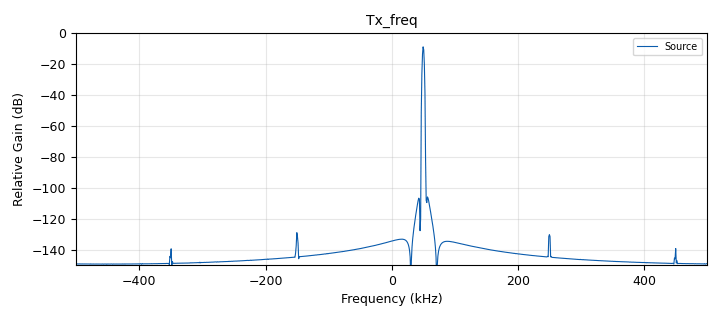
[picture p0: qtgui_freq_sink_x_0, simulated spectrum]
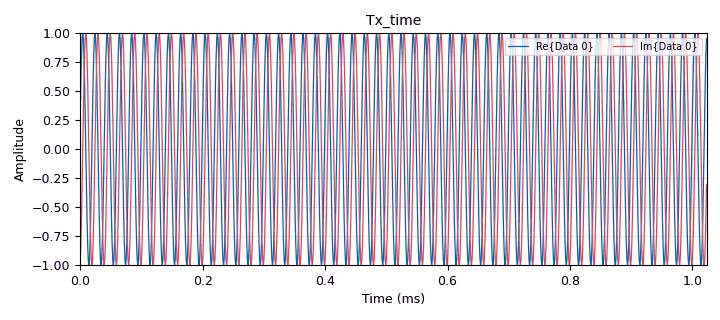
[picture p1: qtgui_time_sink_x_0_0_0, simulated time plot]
options:
  parameters:
    author: pinkie
    generate_options: qt_gui
    id: USRP_communicate_test
    output_language: python
    title: USRP Tx Test
  states: {}

blocks:
- name: center_freq
  id: variable_qtgui_chooser
  parameters:
    gui_hint: (3,0,1,1)
    label: Tx Freqency
    label0: 0Hz
    label1: 915MHz
    label2: 2.4GHz
    label3: 5GHz
    num_opts: '4'
    option0: '0'
    option1: 915e6
    option2: 2.4e9
    option3: 5e9
    type: real
    value: '0'
    widget: radio_buttons
  states: {}
- name: center_freq_0
  id: variable_qtgui_chooser
  parameters:
    gui_hint: (3,1,1,1)
    label: Rx Freqency
    label0: 0Hz
    label1: 915MHz
    label2: 2.4GHz
    label3: 5GHz
    num_opts: '4'
    option0: '0'
    option1: 915e6
    option2: 2.4e9
    option3: 5e9
    type: real
    value: '0'
    widget: radio_buttons
  states: {}
- name: fft_size
  id: variable
  parameters:
    value: '1024'
  states: {}
- name: gain
  id: variable_qtgui_range
  parameters:
    gui_hint: (2,0,1,1)
    label: Tx Gain
    min_len: '50'
    rangeType: int
    start: '0'
    step: '10'
    stop: '200'
    value: '0'
  states: {}
- name: gain_rx
  id: variable_qtgui_range
  parameters:
    gui_hint: (2,1,1,1)
    label: Rx Gain
    min_len: '50'
    rangeType: int
    start: '0'
    step: '10'
    stop: '200'
    value: '0'
  states: {}
- name: noise
  id: variable_qtgui_range
  parameters:
    label: noise
    start: '0'
    step: '0.01'
    stop: '3'
    value: '0'
  states: {}
- name: samp_rate
  id: variable
  parameters:
    value: 1e6
  states: {}
- name: analog_noise_source_x_0
  id: analog_noise_source_x
  parameters:
    amp: noise
    noise_type: analog.GR_GAUSSIAN
    seed: '0'
    type: complex
  states: {}
- name: analog_sig_source_x_0
  id: analog_sig_source_x
  parameters:
    amp: '1'
    freq: '50000'
    offset: '0'
    phase: '0'
    samp_rate: samp_rate
    type: complex
    waveform: analog.GR_COS_WAVE
  states: {}
- name: blocks_add_xx_0
  id: blocks_add_xx
  parameters:
    type: complex
  states: {}
- name: blocks_complex_to_mag_squared_0_0
  id: blocks_complex_to_mag_squared
  parameters:
    vlen: fft_size
  states: {state: disabled}
- name: blocks_stream_to_vector_0
  id: blocks_stream_to_vector
  parameters:
    num_items: fft_size
    type: complex
  states: {state: disabled}
- name: epy_block_1
  id: epy_block
  parameters:
    _source_code: |
      import numpy as np
      from gnuradio import gr
      import datetime
      import csv

      class noise_logger(gr.sync_block):
          """
          This block calculates the average noise power, excluding peaks, and logs it to a CSV file.
          
          Input: Vector of power spectrum values (float).
          Output: None.
          """
          def __init__(self, samp_rate=2e6, fft_size=1024, trim_percent=0.1, log_interval=1.0, filename="rx_noise_log.csv"):
              gr.sync_block.__init__(
                  self,
                  name='Noise Logger',
                  in_sig=[(np.float32, fft_size)],
                  out_sig=[]
              )
              self.fft_size = int(fft_size)
              self.samp_rate = float(samp_rate)
              self.trim_count = int(self.fft_size * trim_percent) # Number of top bins to exclude
              self.log_interval = float(log_interval) # Log interval in seconds
              self.filename = filename

              # Calculate how many FFT vectors represent the logging interval
              # If log_interval is 0.5s, we need half as many vectors as 1s
              self.vectors_per_interval = int((self.samp_rate / self.fft_size) * self.log_interval)
              
              # Safety check: ensure at least 1 vector is processed
              if self.vectors_per_interval < 1:
                   self.vectors_per_interval = 1

              self.vector_counter = 0
              self.power_buffer = []

              # Open the file and write the header
              self.csvfile = open(self.filename, 'w', newline='')
              self.writer = csv.writer(self.csvfile)
              self.writer.writerow(['time_stamp', 'noise_floor_db']) # Updated header name

          def stop(self):
              # Ensure the file is closed when the flowgraph stops
              self.csvfile.close()

          def work(self, input_items, output_items):
              # input_items[0] is a list of input vectors. We process them one by one.
              for vector in input_items[0]:
                  # 1. Sort the power values in ascending order
                  sorted_power = np.sort(vector)

                  # 2. Exclude the top 'trim_count' bins (the peaks)
                  # We also exclude the lowest bin which can sometimes be the DC offset
                  noise_bins = sorted_power[1:-self.trim_count]

                  # 3. Calculate the average of the remaining noise bins
                  if len(noise_bins) > 0:
                      avg_noise_power = np.mean(noise_bins)
                      self.power_buffer.append(avg_noise_power)

                  self.vector_counter += 1

                  # 4. Check if enough vectors have been processed for the interval
                  if self.vector_counter >= self.vectors_per_interval:
                      if len(self.power_buffer) > 0:
                          # Calculate the average over the interval
                          interval_avg_power = np.mean(self.power_buffer)

                          # Normalize the power (divide by FFT size squared) to match Frequency Sink
                          normalized_power = interval_avg_power / (self.fft_size ** 2)
                          
                          # Convert to relative dB (Noise Floor)
                          # Add small epsilon to prevent log(0)
                          noise_db_relative = 10 * np.log10(normalized_power + 1e-20)
                          
                          # Get timestamp and write to file
                          timestamp = datetime.datetime.now().isoformat()
                          
                          # Write the CORRECT normalized value
                          self.writer.writerow([timestamp, f"{noise_db_relative:.2f}"])
                          self.csvfile.flush() # Ensure it's written immediately

                      # Reset for the next interval
                      self.vector_counter = 0
                      self.power_buffer = []

              return len(input_items[0])
    fft_size: fft_size
    filename: '"rx_noise_log.csv"'
    log_interval: '0.5'
    samp_rate: samp_rate
    trim_percent: '0.1'
  states: {state: disabled}
- name: fft_vxx_0
  id: fft_vxx
  parameters:
    fft_size: fft_size
    forward: 'True'
    shift: 'True'
    type: complex
    window: window.blackmanharris(1024)
  states: {state: disabled}
- name: qtgui_freq_sink_x_0
  id: qtgui_freq_sink_x
  parameters:
    bw: samp_rate
    comment: (1,0,1,1)
    fc: center_freq
    fftsize: '1024'
    gui_hint: (1,0,1,1)
    label1: '"Source"'
    name: '"Tx_freq"'
    type: complex
    ymax: '0'
    ymin: '-150'
  states: {}
- name: qtgui_freq_sink_x_0_0
  id: qtgui_freq_sink_x
  parameters:
    average: '0.05'
    bw: samp_rate
    comment: (1,1,1,1)
    fc: center_freq
    fftsize: '1024'
    gui_hint: (1,1,1,1)
    label1: '"RX2"'
    label2: '"TX/RX"'
    name: '"Rx_freq"'
    nconnections: '2'
    type: complex
    ymax: '0'
    ymin: '-150'
  states: {state: disabled}
- name: qtgui_time_sink_x_0_0
  id: qtgui_time_sink_x
  parameters:
    comment: (0,1,1,1)
    gui_hint: (0,1,1,1)
    name: '"Rx_time"'
    size: '1024'
    srate: samp_rate
    type: complex
    update_time: '0.05'
    ylabel: '""'
  states: {state: disabled}
- name: qtgui_time_sink_x_0_0_0
  id: qtgui_time_sink_x
  parameters:
    comment: (0,0,1,1)
    gui_hint: (0,0,1,1)
    name: '"Tx_time"'
    size: '1024'
    srate: samp_rate
    type: complex
    update_time: '0.05'
    ylabel: '""'
  states: {}
- name: uhd_usrp_sink_0
  id: uhd_usrp_sink
  parameters:
    ant0: '"TX/RX"'
    ant1: '"TX/RX"'
    center_freq0: center_freq
    center_freq1: center_freq
    gain0: gain
    gain1: gain
    nchan: '2'
    samp_rate: samp_rate
    stream_chans: '[0,1]'
    sync: sync
    type: fc32
  states: {}
- name: uhd_usrp_source_0
  id: uhd_usrp_source
  parameters:
    ant0: '"RX2"'
    ant1: '"TX/RX"'
    center_freq0: center_freq_0
    center_freq1: center_freq
    gain0: gain_rx
    gain1: gain_rx
    nchan: '2'
    samp_rate: samp_rate
    stream_chans: '[0,1]'
    sync: sync
    type: fc32
  states: {state: disabled}

connections:
- [analog_noise_source_x_0, '0', blocks_add_xx_0, '0']
- [analog_sig_source_x_0, '0', blocks_add_xx_0, '1']
- [blocks_add_xx_0, '0', qtgui_freq_sink_x_0, '0']
- [blocks_add_xx_0, '0', qtgui_time_sink_x_0_0_0, '0']
- [blocks_add_xx_0, '0', uhd_usrp_sink_0, '0']
- [blocks_add_xx_0, '0', uhd_usrp_sink_0, '1']
- [blocks_complex_to_mag_squared_0_0, '0', epy_block_1, '0']
- [blocks_stream_to_vector_0, '0', fft_vxx_0, '0']
- [fft_vxx_0, '0', blocks_complex_to_mag_squared_0_0, '0']
- [uhd_usrp_source_0, '0', blocks_stream_to_vector_0, '0']
- [uhd_usrp_source_0, '0', qtgui_freq_sink_x_0_0, '0']
- [uhd_usrp_source_0, '0', qtgui_time_sink_x_0_0, '0']
- [uhd_usrp_source_0, '1', qtgui_freq_sink_x_0_0, '1']

metadata:
  file_format: 1
  grc_version: 3.10.12.0
